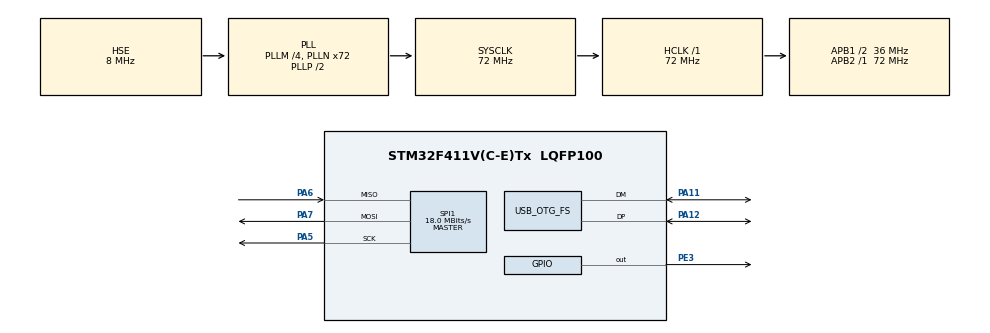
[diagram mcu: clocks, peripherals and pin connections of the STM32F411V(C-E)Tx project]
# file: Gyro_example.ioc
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Mcu.Family=STM32F4
Mcu.Name=STM32F411V(C-E)Tx
Mcu.Package=LQFP100
NVIC.OTG_FS_IRQn=true\:0\:0\:false\:false\:true\:true\:true\:true
NVIC.PriorityGroup=NVIC_PRIORITYGROUP_4
NVIC.TIM1_UP_TIM10_IRQn=true\:15\:0\:false\:false\:true\:false\:true\:true
NVIC.TimeBase=TIM1_UP_TIM10_IRQn
NVIC.TimeBaseIP=TIM1
PA11.Mode=Device_Only
PA11.Signal=USB_OTG_FS_DM
PA12.Mode=Device_Only
PA12.Signal=USB_OTG_FS_DP
PA5.Mode=Full_Duplex_Master
PA5.Signal=SPI1_SCK
PA6.Mode=Full_Duplex_Master
PA6.Signal=SPI1_MISO
PA7.Mode=Full_Duplex_Master
PA7.Signal=SPI1_MOSI
PE3.Signal=GPIO_Output
PH0\ -\ OSC_IN.Mode=HSE-External-Oscillator
PH0\ -\ OSC_IN.Signal=RCC_OSC_IN
PH1\ -\ OSC_OUT.Mode=HSE-External-Oscillator
PH1\ -\ OSC_OUT.Signal=RCC_OSC_OUT
ProjectManager.HeapSize=0x200
ProjectManager.StackSize=0x400
ProjectManager.TargetToolchain=STM32CubeIDE
RCC.48MHZClocksFreq_Value=48000000
RCC.AHBFreq_Value=72000000
RCC.APB1CLKDivider=RCC_HCLK_DIV2
RCC.APB1Freq_Value=36000000
RCC.APB1TimFreq_Value=72000000
RCC.APB2Freq_Value=72000000
RCC.APB2TimFreq_Value=72000000
RCC.CortexFreq_Value=72000000
RCC.HCLKFreq_Value=72000000
RCC.HSE_VALUE=8000000
RCC.HSI_VALUE=16000000
RCC.LSE_VALUE=32768
RCC.PLLM=4
RCC.PLLN=72
RCC.PLLQ=3
RCC.PLLSourceVirtual=RCC_PLLSOURCE_HSE
RCC.SYSCLKFreq_VALUE=72000000
RCC.SYSCLKSource=RCC_SYSCLKSOURCE_PLLCLK
RCC.VCOOutputFreq_Value=144000000
SPI1.BaudRatePrescaler=SPI_BAUDRATEPRESCALER_4
SPI1.CLKPhase=SPI_PHASE_1EDGE
SPI1.CLKPolarity=SPI_POLARITY_LOW
SPI1.CalculateBaudRate=18.0 MBits/s
SPI1.Direction=SPI_DIRECTION_2LINES
SPI1.Mode=SPI_MODE_MASTER
SPI1.VirtualType=VM_MASTER
USB_DEVICE.CLASS_NAME_FS=CDC
USB_DEVICE.VirtualMode=Cdc
USB_DEVICE.VirtualModeFS=Cdc_FS
USB_OTG_FS.VirtualMode=Device_Only
VP_SYS_VS_tim1.Mode=TIM1
VP_USB_DEVICE_VS_USB_DEVICE_CDC_FS.Mode=CDC_FS
board=custom

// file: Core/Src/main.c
/* USER CODE BEGIN Header */
/**
  ******************************************************************************
  * @file           : main.c
  * @brief          : Main program body
  ******************************************************************************
  * @attention
  *
  * Copyright (c) 2023 STMicroelectronics.
  * All rights reserved.
  *
  * This software is licensed under terms that can be found in the LICENSE file
  * in the root directory of this software component.
  * If no LICENSE file comes with this software, it is provided AS-IS.
  *
  ******************************************************************************
  */
/* USER CODE END Header */
#include "main.h"
#include "spi.h"
#include "usb_device.h"
#include "gpio.h"

/* USER CODE BEGIN Includes */
#include "I3G4250D_Lib.h"
#include "usbd_cdc_if.h"
#include "string.h"
/* USER CODE END Includes */

/* USER CODE BEGIN PV */
Gyro_XYZ_t gyro_xyz;
/* USER CODE END PV */

void SystemClock_Config(void);

/* USER CODE BEGIN 0 */
char *data = "Hello from Paul\n";
uint8_t buffer[64];
/* USER CODE END 0 */

int main(void)
{

  /* MCU Configuration--------------------------------------------------------*/

  /* Reset of all peripherals, Initializes the Flash interface and the Systick. */
  HAL_Init();

  /* Configure the system clock */
  SystemClock_Config();

  /* Initialize all configured peripherals */
  MX_GPIO_Init();
  MX_SPI1_Init();
  MX_USB_DEVICE_Init();
  /* USER CODE BEGIN 2 */
    uint8_t whoamI = 0;
    uint8_t wreg = 0;
    uint8_t wreg2 = 0;

    wreg |= 0x0F;
    whoamI = I3G4250D_WhoIAm();
    HAL_Delay(200);
    if (whoamI != I3G4250D_ID)
    	while(1);

    wreg = (uint8_t)I3G4250D_ODR_100Hz;
    I3G4250D_GyroEnable(wreg);

    wreg = (uint8_t)I3G4250D_LPF1_HP_ON_OUT;
    I3G4250D_OutSelConfig(wreg);

    wreg = (uint8_t)I3G4250D_HP_NORMAL_MODE_WITH_RST;
    wreg2 = (uint8_t)I3G4250D_HPCF_LEVEL_3;
    I3G4250D_HPFilterConfig(wreg, wreg2);

  /* USER CODE END 2 */

  /* Infinite loop */
  /* USER CODE BEGIN WHILE */
  while (1)
  {
	  gyro_xyz = I3G4250D_ReadGyroXYZ();
	  sprintf((char *)buffer, "%f, %f, %f\r\n", gyro_xyz.xAxis, gyro_xyz.yAxis, gyro_xyz.zAxis);
	  CDC_Transmit_FS((uint8_t *) buffer, strlen((const char *) buffer));
	  HAL_Delay(50);
    /* USER CODE END WHILE */

  }
}

void SystemClock_Config(void)
{
  RCC_OscInitTypeDef RCC_OscInitStruct = {0};
  RCC_ClkInitTypeDef RCC_ClkInitStruct = {0};

  /** Configure the main internal regulator output voltage
  */
  __HAL_RCC_PWR_CLK_ENABLE();
  __HAL_PWR_VOLTAGESCALING_CONFIG(PWR_REGULATOR_VOLTAGE_SCALE1);

  /** Initializes the RCC Oscillators according to the specified parameters
  * in the RCC_OscInitTypeDef structure.
  */
  RCC_OscInitStruct.OscillatorType = RCC_OSCILLATORTYPE_HSE;
  RCC_OscInitStruct.HSEState = RCC_HSE_ON;
  RCC_OscInitStruct.PLL.PLLState = RCC_PLL_ON;
  RCC_OscInitStruct.PLL.PLLSource = RCC_PLLSOURCE_HSE;
  RCC_OscInitStruct.PLL.PLLM = 4;
  RCC_OscInitStruct.PLL.PLLN = 72;
  RCC_OscInitStruct.PLL.PLLP = RCC_PLLP_DIV2;
  RCC_OscInitStruct.PLL.PLLQ = 3;
  if (HAL_RCC_OscConfig(&RCC_OscInitStruct) != HAL_OK)
  {
    Error_Handler();
  }

  /** Initializes the CPU, AHB and APB buses clocks
  */
  RCC_ClkInitStruct.ClockType = RCC_CLOCKTYPE_HCLK|RCC_CLOCKTYPE_SYSCLK
                              |RCC_CLOCKTYPE_PCLK1|RCC_CLOCKTYPE_PCLK2;
  RCC_ClkInitStruct.SYSCLKSource = RCC_SYSCLKSOURCE_PLLCLK;
  RCC_ClkInitStruct.AHBCLKDivider = RCC_SYSCLK_DIV1;
  RCC_ClkInitStruct.APB1CLKDivider = RCC_HCLK_DIV2;
  RCC_ClkInitStruct.APB2CLKDivider = RCC_HCLK_DIV1;

  if (HAL_RCC_ClockConfig(&RCC_ClkInitStruct, FLASH_LATENCY_2) != HAL_OK)
  {
    Error_Handler();
  }
}

void HAL_TIM_PeriodElapsedCallback(TIM_HandleTypeDef *htim)
{
  if (htim->Instance == TIM1) {
    HAL_IncTick();
  }
}

void Error_Handler(void)
{
  __disable_irq();
  while (1)
  {
  }
}
